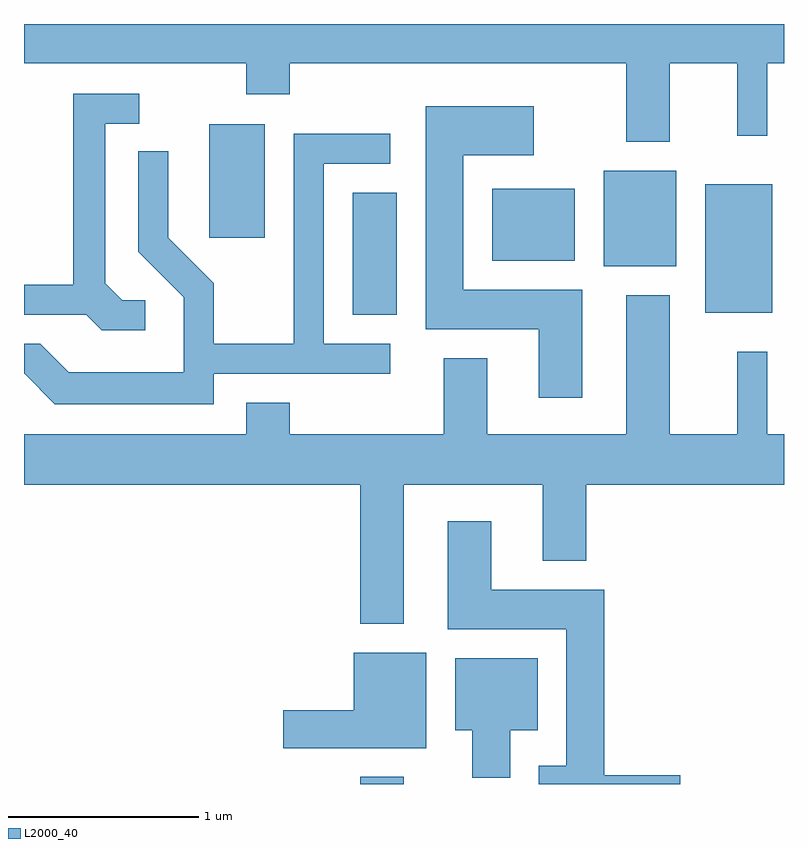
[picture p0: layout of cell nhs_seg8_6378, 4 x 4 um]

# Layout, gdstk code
import gdstk
lib = gdstk.Library(unit=1e-6, precision=1e-09)
def R(c, l, rs):  # rectangles x0, y0, x1, y1
    for r in rs: c.add(gdstk.rectangle(r[:2], r[2:], *l))
def P(c, l, *ps):  # polygons
    for p in ps: c.add(gdstk.Polygon(p, *l))
L2000_40 = (2000, 40)

nhs_seg8_6378 = lib.new_cell('nhs_seg8_6378')
R(nhs_seg8_6378, L2000_40, [(377.381,1890.342,377.609,1890.379), (377.341,1892.811,377.574,1893.454), (379.196,1892.821,379.549,1893.499), (378.661,1893.066,379.044,1893.569), (378.076,1893.096,378.509,1893.474), (376.586,1893.216,376.879,1893.814)])
P(nhs_seg8_6378, L2000_40, [(379.009,1894.136),(379.366,1894.136),(379.366,1893.753),(379.524,1893.753),(379.524,1894.136),(379.611,1894.136),(379.611,1894.342),(375.611,1894.342),(375.611,1894.136),(376.781,1894.136),(376.781,1893.971),(377.009,1893.971),(377.009,1894.136),(378.781,1894.136),(378.781,1893.721),(379.009,1893.721)],
  [(376.248,1892.889),(376.127,1892.889),(376.039,1892.977),(376.039,1893.816),(376.218,1893.816),(376.218,1893.974),(375.871,1893.974),(375.871,1892.969),(375.611,1892.969),(375.611,1892.811),(375.939,1892.811),(376.019,1892.731),(376.248,1892.731)],
  [(378.549,1892.944),(377.924,1892.944),(377.924,1893.651),(378.294,1893.651),(378.294,1893.909),(377.726,1893.909),(377.726,1892.736),(378.321,1892.736),(378.321,1892.376),(378.549,1892.376)],
  [(376.609,1892.501),(377.538,1892.501),(377.538,1892.659),(377.189,1892.659),(377.189,1893.606),(377.538,1893.606),(377.538,1893.764),(377.031,1893.764),(377.031,1892.659),(376.609,1892.659),(376.609,1892.977),(376.369,1893.217),(376.369,1893.673),(376.211,1893.673),(376.211,1893.144),(376.451,1892.904),(376.451,1892.509),(375.847,1892.509),(375.697,1892.659),(375.611,1892.659),(375.611,1892.501),(375.614,1892.501),(375.774,1892.341),(376.609,1892.341)],
  [(377.609,1891.916),(378.341,1891.916),(378.341,1891.516),(378.569,1891.516),(378.569,1891.916),(379.611,1891.916),(379.611,1892.184),(379.524,1892.184),(379.524,1892.618),(379.366,1892.618),(379.366,1892.184),(379.009,1892.184),(379.009,1892.914),(378.781,1892.914),(378.781,1892.184),(378.049,1892.184),(378.049,1892.584),(377.821,1892.584),(377.821,1892.184),(377.009,1892.184),(377.009,1892.349),(376.781,1892.349),(376.781,1892.184),(375.611,1892.184),(375.611,1891.916),(377.381,1891.916),(377.381,1891.186),(377.609,1891.186)],
  [(379.064,1890.389),(378.664,1890.389),(378.664,1891.364),(378.069,1891.364),(378.069,1891.724),(377.841,1891.724),(377.841,1891.156),(378.466,1891.156),(378.466,1890.439),(378.321,1890.439),(378.321,1890.342),(379.064,1890.342)],
  [(377.729,1891.034),(377.346,1891.034),(377.346,1890.729),(376.976,1890.729),(376.976,1890.531),(377.729,1890.531)],
  [(378.169,1890.626),(378.314,1890.626),(378.314,1891.004),(377.881,1891.004),(377.881,1890.626),(377.971,1890.626),(377.971,1890.376),(378.169,1890.376)])

lib.write_gds('nhs_seg8_6378.gds')
